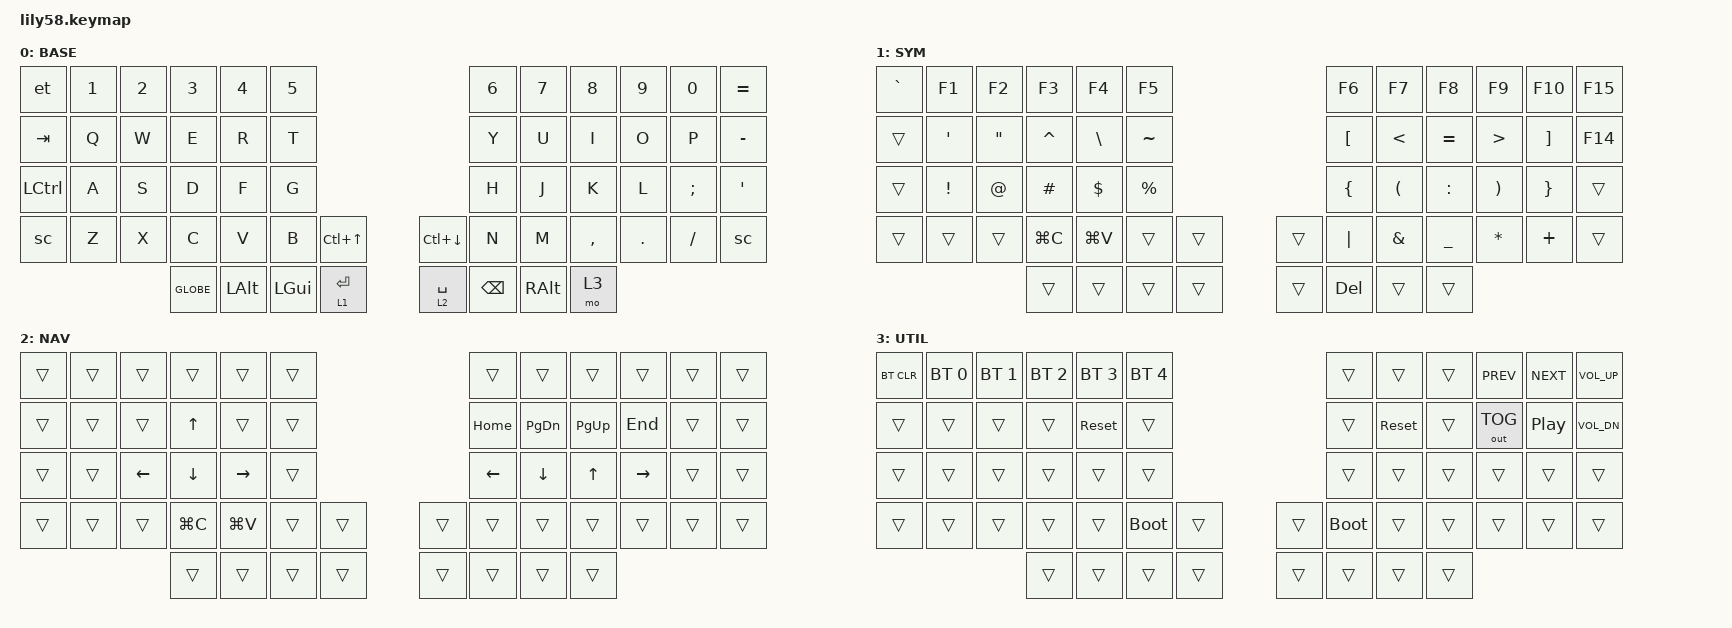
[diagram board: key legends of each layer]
/*
 * Copyright (c) 2020 The ZMK Contributors
 *
 * SPDX-License-Identifier: MIT
 */

#include <behaviors.dtsi>
#include <dt-bindings/zmk/bt.h>
#include <dt-bindings/zmk/keys.h>
#include <dt-bindings/zmk/outputs.h>

/ {
    behaviors {
        et: esc_term {
            compatible = "zmk,behavior-mod-morph";
            label = "ESC / Term (`)";
            bindings = <&kp ESCAPE>, <&kp GRAVE>;

            #binding-cells = <0>;
            mods = <(MOD_LGUI|MOD_LCTL)>;
            keep-mods = <(MOD_LCTL|MOD_LGUI)>;
        };

        flt: fast_layer_tap {
            compatible = "zmk,behavior-hold-tap";
            label = "Layer/Tap (Tap Preferred)";
            bindings = <&mo>, <&kp>;

            #binding-cells = <2>;
            tapping-term-ms = <200>;
            quick-tap-ms = <150>;
            require-prior-idle-ms = <125>;
            flavor = "tap-preferred";
        };

        sc: shift_caps {
            compatible = "zmk,behavior-tap-dance";
            label = "SC";
            #binding-cells = <0>;
            bindings = <&kp LSHIFT>, <&caps_word>;
        };
    };

    keymap {
        compatible = "zmk,keymap";

        default_layer {
            // -----------------------------------------------------------------------------------------------------------------
            // | ESC/` |   1   |   2   |   3   |   4   |   5   |                  |   6   |   7   |   8   |   9   |   0   |   =   |
            // |  TAB  |   Q   |   W   |   E   |   R   |   T   |                  |   Y   |   U   |   I   |   O   |   P   |   -   |
            // | CTRL  |   A   |   S   |   D   |   F   |   G   |                  |   H   |   J   |   K   |   L   |   ;   |   '   |
            // | SFT/CW|   Z   |   X   |   C   |   V   |   B   | C(UP) |  | C(DN) |   N   |   M   |   ,   |   .   |   /   | SFT/CW|
            //                         | GLOBE |  ALT  |  GUI  |SYM/ENT|  |NAV/SPC| BSPC  | RALT  | UTIL  |

            display-name = "BASE";
            bindings = <
&et        &kp N1  &kp N2  &kp N3     &kp N4    &kp N5                                      &kp N6    &kp N7    &kp N8     &kp N9   &kp N0    &kp EQUAL
&kp TAB    &kp Q   &kp W   &kp E      &kp R     &kp T                                       &kp Y     &kp U     &kp I      &kp O    &kp P     &kp MINUS
&kp LCTRL  &kp A   &kp S   &kp D      &kp F     &kp G                                       &kp H     &kp J     &kp K      &kp L    &kp SEMI  &kp SQT
&sc        &kp Z   &kp X   &kp C      &kp V     &kp B     &kp LC(UP_ARROW)    &kp LC(DOWN)  &kp N     &kp M     &kp COMMA  &kp DOT  &kp FSLH  &sc
                           &kp GLOBE  &kp LALT  &kp LGUI  &lt 1 ENTER        &flt 2 SPACE  &kp BSPC  &kp RALT  &mo 3
            >;
        };

        sym_layer {
            // -----------------------------------------------------------------------------------------------------------------
            // |   `   |  F1   |  F2   |  F3   |  F4   |  F5   |                  |  F6   |  F7   |  F8   |  F9   |  F10  | BRI+  |
            // |       |   '   |   "   |   ^   |   \   |   ~   |                  |   [   |   <   |   =   |   >   |   ]   | BRI-  |
            // |       |   !   |   @   |   #   |   $   |   %   |                  |   {   |   (   |   :   |   )   |   }   |       |
            // |       |       |       | G(C)  | G(V)  |       |       |  |       |   |   |   &   |   _   |   *   |   +   |       |
            //                         |       |       |       |       |  |       |  DEL  |       |       |

            // F15/F14 are macOS display brightness up/down

            display-name = "SYM";
            bindings = <
&kp GRAVE  &kp F1           &kp F2             &kp F3     &kp F4         &kp F5                         &kp F6            &kp F7                &kp F8          &kp F9        &kp F10            &kp F15
&trans     &kp SQT          &kp DOUBLE_QUOTES  &kp CARET  &kp BACKSLASH  &kp TILDE                      &kp LEFT_BRACKET  &kp LESS_THAN         &kp EQUAL       &kp GT        &kp RIGHT_BRACKET  &kp F14
&trans     &kp EXCLAMATION  &kp AT_SIGN        &kp HASH   &kp DOLLAR     &kp PERCENT                    &kp LEFT_BRACE    &kp LEFT_PARENTHESIS  &kp COLON       &kp RPAR      &kp RIGHT_BRACE    &trans
&trans     &trans           &trans             &kp LG(C)  &kp LG(V)      &trans       &trans    &trans  &kp PIPE          &kp AMPERSAND         &kp UNDERSCORE  &kp ASTERISK  &kp PLUS           &trans
                                               &trans     &trans         &trans       &trans    &trans  &kp DELETE        &trans                &trans
            >;
        };

        nav_layer {
            // -----------------------------------------------------------------------------------------------------------------
            // |       |       |       |       |       |       |                  |       |       |       |       |       |       |
            // |       |       |       |  UP   |       |       |                  | HOME  | PGDN  | PGUP  |  END  |       |       |
            // |       |       | LEFT  | DOWN  | RIGHT |       |                  | LEFT  | DOWN  |  UP   | RIGHT |       |       |
            // |       |       |       | G(C)  | G(V)  |       |       |  |       |       |       |       |       |       |       |
            //                         |       |       |       |       |  |       |       |       |       |

            display-name = "NAV";
            bindings = <
&trans  &trans  &trans    &trans     &trans      &trans                       &trans    &trans     &trans     &trans     &trans  &trans
&trans  &trans  &trans    &kp UP     &trans      &trans                       &kp HOME  &kp PG_DN  &kp PG_UP  &kp END    &trans  &trans
&trans  &trans  &kp LEFT  &kp DOWN   &kp RIGHT   &trans                       &kp LEFT  &kp DOWN   &kp UP     &kp RIGHT  &trans  &trans
&trans  &trans  &trans    &kp LG(C)  &kp LG(V)   &trans     &trans    &trans  &trans    &trans     &trans     &trans     &trans  &trans
                          &trans     &trans      &trans     &trans    &trans  &trans    &trans     &trans
            >;

        };

        util_layer {
            // -----------------------------------------------------------------------------------------------------------------
            // | BTCLR |  BT0  |  BT1  |  BT2  |  BT3  |  BT4  |                  |       |       |       | PREV  | NEXT  | VOL+  |
            // |       |       |       |       | RESET |       |                  |       | RESET |       |OUT TOG| PLAY  | VOL-  |
            // |       |       |       |       |       |       |                  |       |       |       |       |       |       |
            // |       |       |       |       |       | BOOT  |       |  |       | BOOT  |       |       |       |       |       |
            //                         |       |       |       |       |  |       |       |       |       |

            // BOOT/RESET only act on the half they sit on

            display-name = "UTIL";
            bindings = <
&bt BT_CLR  &bt BT_SEL 0  &bt BT_SEL 1  &bt BT_SEL 2  &bt BT_SEL 3  &bt BT_SEL 4                          &trans        &trans       &trans  &kp C_PREV   &kp C_NEXT        &kp C_VOL_UP
&trans      &trans        &trans        &trans        &sys_reset    &trans                                &trans        &sys_reset   &trans  &out OUT_TOG  &kp C_PLAY_PAUSE  &kp C_VOL_DN
&trans      &trans        &trans        &trans        &trans        &trans                                &trans        &trans       &trans  &trans       &trans            &trans
&trans      &trans        &trans        &trans        &trans        &bootloader   &trans    &trans        &bootloader   &trans       &trans  &trans       &trans            &trans
                                        &trans        &trans        &trans        &trans    &trans        &trans        &trans       &trans
            >;
        };
    };
};
